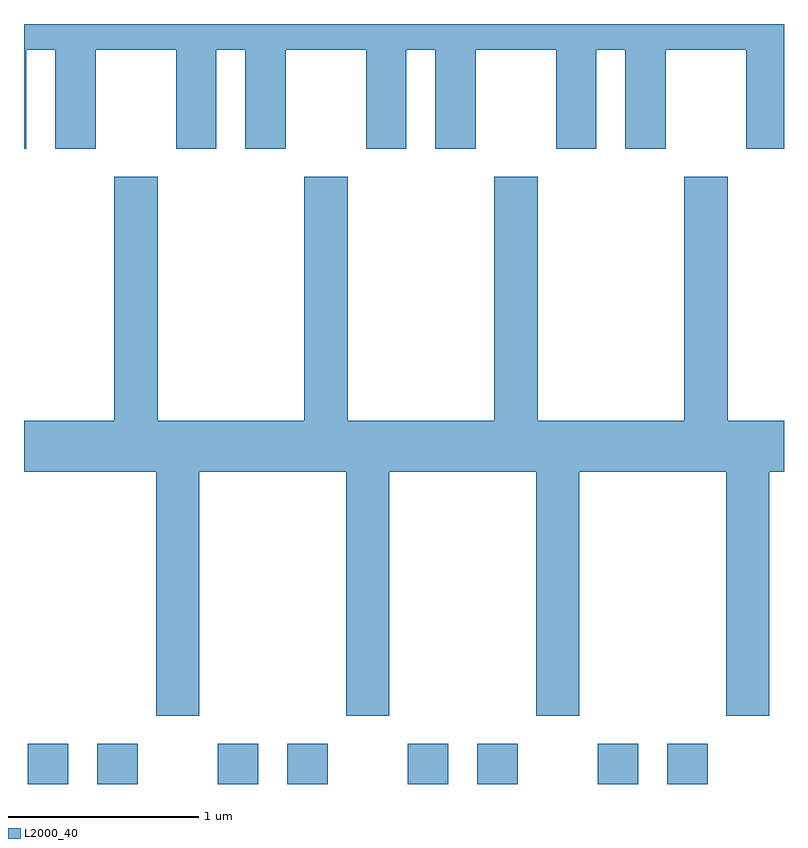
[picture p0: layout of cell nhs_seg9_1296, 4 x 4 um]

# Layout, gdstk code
import gdstk
lib = gdstk.Library(unit=1e-6, precision=1e-09)
def R(c, l, rs):  # rectangles x0, y0, x1, y1
    for r in rs: c.add(gdstk.rectangle(r[:2], r[2:], *l))
def P(c, l, *ps):  # polygons
    for p in ps: c.add(gdstk.Polygon(p, *l))
L2000_40 = (2000, 40)

nhs_seg9_1296 = lib.new_cell('nhs_seg9_1296')
R(nhs_seg9_1296, L2000_40, [(223.631,1952.432,223.844,1952.644), (223.996,1952.432,224.209,1952.644), (224.631,1952.432,224.844,1952.644), (224.996,1952.432,225.209,1952.644), (225.631,1952.432,225.844,1952.644), (225.996,1952.432,226.209,1952.644), (226.631,1952.432,226.844,1952.644), (226.996,1952.432,227.209,1952.644)])
P(nhs_seg9_1296, L2000_40, [(226.411,1955.776),(226.624,1955.776),(226.624,1956.296),(226.776,1956.296),(226.776,1955.776),(226.989,1955.776),(226.989,1956.296),(227.411,1956.296),(227.411,1955.776),(227.611,1955.776),(227.611,1956.432),(223.611,1956.432),(223.611,1955.776),(223.624,1955.776),(223.624,1956.296),(223.776,1956.296),(223.776,1955.776),(223.989,1955.776),(223.989,1956.296),(224.411,1956.296),(224.411,1955.776),(224.624,1955.776),(224.624,1956.296),(224.776,1956.296),(224.776,1955.776),(224.989,1955.776),(224.989,1956.296),(225.411,1956.296),(225.411,1955.776),(225.624,1955.776),(225.624,1956.296),(225.776,1956.296),(225.776,1955.776),(225.989,1955.776),(225.989,1956.296),(226.411,1956.296)],
  [(224.534,1954.076),(225.306,1954.076),(225.306,1952.791),(225.534,1952.791),(225.534,1954.076),(226.306,1954.076),(226.306,1952.791),(226.534,1952.791),(226.534,1954.076),(227.306,1954.076),(227.306,1952.791),(227.534,1952.791),(227.534,1954.076),(227.611,1954.076),(227.611,1954.344),(227.314,1954.344),(227.314,1955.629),(227.086,1955.629),(227.086,1954.344),(226.314,1954.344),(226.314,1955.629),(226.086,1955.629),(226.086,1954.344),(225.314,1954.344),(225.314,1955.629),(225.086,1955.629),(225.086,1954.344),(224.314,1954.344),(224.314,1955.629),(224.086,1955.629),(224.086,1954.344),(223.611,1954.344),(223.611,1954.076),(224.306,1954.076),(224.306,1952.791),(224.534,1952.791)])

lib.write_gds('nhs_seg9_1296.gds')
